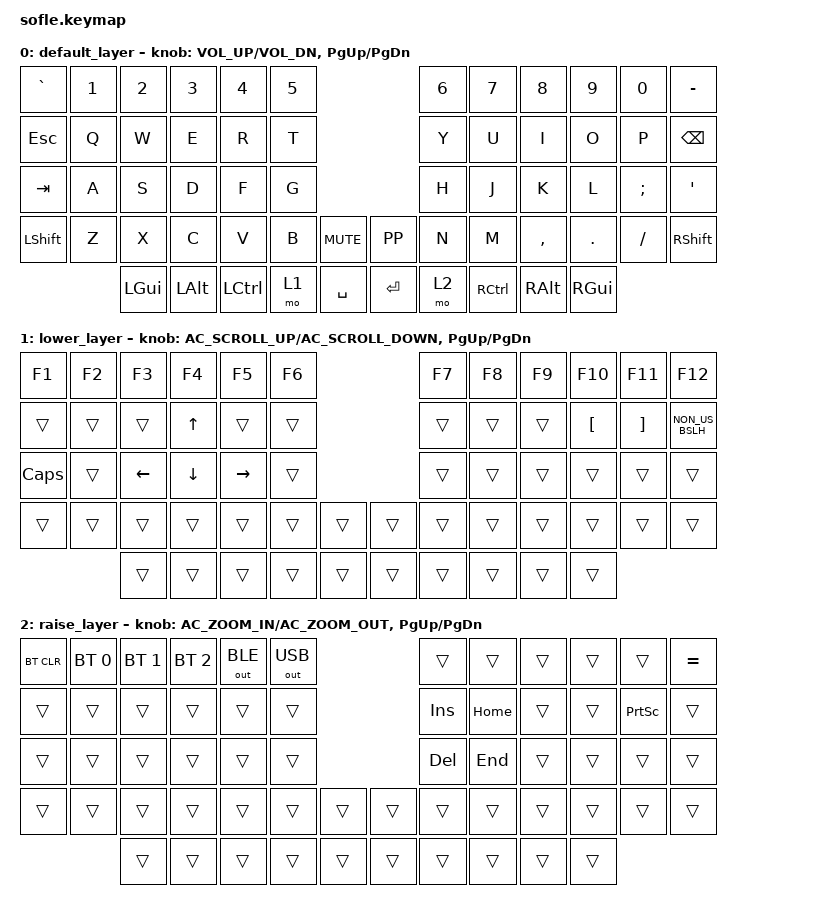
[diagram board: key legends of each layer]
/*
 * Copyright (c) 2020 The ZMK Contributors
 *
 * SPDX-License-Identifier: MIT
 */

#include <behaviors.dtsi>
#include <dt-bindings/zmk/keys.h>
#include <dt-bindings/zmk/bt.h>
#include <dt-bindings/zmk/outputs.h>


/ {
    keymap {
        compatible = "zmk,keymap";

        default_layer {
// ------------------------------------------------------------------------------------------------------------
// |  `    |  1  |  2  |  3   |  4   |  5   |                      |  6   |  7    |  8    |  9   |   0   | MINUS |
// |  ESC  |  Q  |  W  |  E   |  R   |  T   |                      |  Y   |  U    |  I    |  O   |   P   | BSPC  |
// |  TAB  |  A  |  S  |  D   |  F   |  G   |                      |  H   |  J    |  K    |  L   |   ;   |   '   |
// | SHIFT |  Z  |  X  |  C   |  V   |  B   |  MUTE  |  |PLAY/PAUSE|  N   |  M    |  ,    |  .   |   /   | SHIFT |
//               | GUI | ALT  | CTRL | LOWER|  SPACE |  |  ENTER   | RAISE| CTRL  | ALT   | GUI  |
            bindings = <
&kp GRAVE &kp N1 &kp N2   &kp N3   &kp N4    &kp N5                        &kp N6 &kp N7    &kp N8    &kp N9   &kp N0   &kp MINUS
&kp ESC   &kp Q  &kp W    &kp E    &kp R     &kp T                         &kp Y  &kp U     &kp I     &kp O    &kp P    &kp BSPC
&kp TAB   &kp A  &kp S    &kp D    &kp F     &kp G                         &kp H  &kp J     &kp K     &kp L    &kp SEMI &kp SQT
&kp LSHFT &kp Z  &kp X    &kp C    &kp V     &kp B  &kp C_MUTE   &kp K_PP  &kp N  &kp M     &kp COMMA &kp DOT  &kp FSLH &kp RSHFT
                 &kp LGUI &kp LALT &kp LCTRL &mo 1  &kp SPACE    &kp ENTER &mo 2  &kp RCTRL &kp RALT  &kp RGUI
            >;

            sensor-bindings = <&inc_dec_kp C_VOL_UP C_VOL_DN &inc_dec_kp PG_UP PG_DN>;
        };

        lower_layer {
// TODO: Some binds are waiting for shifted keycode support.
// ----------------------------------------------------------------------------------------------------------------
// |   F1  |  F2 |  F3 |  F4  |  F5  |  F6  |                   |  F7  |  F8   |  F9   |  F10 |  F11  |  F12      |
// |       |     |     |  UP  |      |      |                   |      | MINUS | EQUAL | LBKT | RBKT  |NON_US_BSLH|
// | CAPS  |     | LEFT| DOWN | RIGHT|      |                   |      |       |       |      |       |           |
// |       |     |     |      |      |      |        |  |       |      |       |       |      |       |           |
//               |     |      |      |      |        |  |       |      |       |       |      |
            bindings = <
&kp F1    &kp F2    &kp F3    &kp F4      &kp F5    &kp F6                       &kp F7    &kp F8      &kp F9        &kp F10      &kp F11     &kp F12
&trans    &trans    &trans    &kp UP      &trans    &trans                       &trans    &trans      &trans        &kp LBKT     &kp RBKT    &kp NON_US_BSLH
&kp CAPS  &trans    &kp LEFT  &kp DOWN    &kp RIGHT &trans                       &trans    &trans      &trans        &trans       &trans      &trans
&trans    &trans    &trans    &trans      &trans    &trans    &trans     &trans  &trans    &trans      &trans        &trans       &trans      &trans
                    &trans    &trans      &trans    &trans    &trans     &trans  &trans    &trans      &trans        &trans
            >;

            sensor-bindings = <&inc_dec_kp C_AC_SCROLL_UP C_AC_SCROLL_DOWN &inc_dec_kp PG_UP PG_DN>;
        };

        raise_layer {
// ------------------------------------------------------------------------------------------------------------
// |BTCLR| BT1  | BT2  |  BT3  |  BT4  |  BT5 |                |       |       |       |      |       | EQUAL |
// |     |      |      |       |       |      |                | INS   | HOME  |       |      | PSCRN |       |
// |     |      |      |       |       |      |                | DEL   | END   |       |      |       |       |
// |     |      |      |       |       |      |      |  |      |       |       |       |      |       |       |
//              |      |       |       |      |      |  |      |       |       |       |      |
            bindings = <
&bt BT_CLR &bt BT_SEL 0 &bt BT_SEL 1 &bt BT_SEL 2 &out OUT_BLE &out OUT_USB                     &trans    &trans    &trans   &trans   &trans     &kp EQUAL
&trans     &trans       &trans       &trans       &trans       &trans                           &kp INS   &kp HOME  &trans   &trans   &kp PSCRN  &trans
&trans     &trans       &trans       &trans       &trans       &trans                           &kp DEL   &kp END   &trans   &trans   &trans     &trans
&trans     &trans       &trans       &trans       &trans       &trans       &trans     &trans   &trans    &trans    &trans   &trans   &trans     &trans
                        &trans       &trans       &trans       &trans       &trans     &trans   &trans    &trans    &trans   &trans
            >;

            sensor-bindings = <&inc_dec_kp C_AC_ZOOM_IN C_AC_ZOOM_OUT &inc_dec_kp PG_UP PG_DN>;
        };
    };
};
